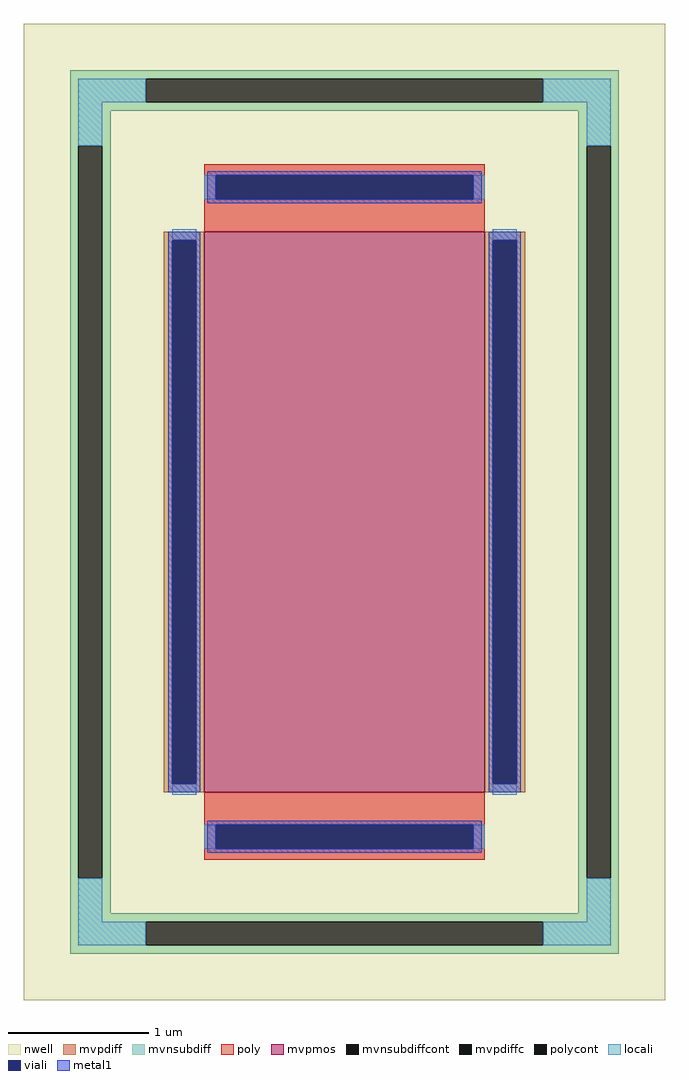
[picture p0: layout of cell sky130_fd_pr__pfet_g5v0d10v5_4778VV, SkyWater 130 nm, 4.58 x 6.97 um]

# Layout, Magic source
magic
tech sky130A
magscale 1 2
<< nwell >>
rect -458 -697 458 697
<< mvpmos >>
rect -200 -400 200 400
<< mvpdiff >>
rect -258 388 -200 400
rect -258 -388 -246 388
rect -212 -388 -200 388
rect -258 -400 -200 -388
rect 200 388 258 400
rect 200 -388 212 388
rect 246 -388 258 388
rect 200 -400 258 -388
<< mvpdiffc >>
rect -246 -388 -212 388
rect 212 -388 246 388
<< mvnsubdiff >>
rect -392 619 392 631
rect -392 585 -284 619
rect 284 585 392 619
rect -392 573 392 585
rect -392 523 -334 573
rect -392 -523 -380 523
rect -346 -523 -334 523
rect 334 523 392 573
rect -392 -573 -334 -523
rect 334 -523 346 523
rect 380 -523 392 523
rect 334 -573 392 -523
rect -392 -585 392 -573
rect -392 -619 -284 -585
rect 284 -619 392 -585
rect -392 -631 392 -619
<< mvnsubdiffcont >>
rect -284 585 284 619
rect -380 -523 -346 523
rect 346 -523 380 523
rect -284 -619 284 -585
<< poly >>
rect -200 481 200 497
rect -200 447 -184 481
rect 184 447 200 481
rect -200 400 200 447
rect -200 -447 200 -400
rect -200 -481 -184 -447
rect 184 -481 200 -447
rect -200 -497 200 -481
<< polycont >>
rect -184 447 184 481
rect -184 -481 184 -447
<< locali >>
rect -380 585 -284 619
rect 284 585 380 619
rect -380 523 -346 585
rect 346 523 380 585
rect -200 447 -184 481
rect 184 447 200 481
rect -246 388 -212 404
rect -246 -404 -212 -388
rect 212 388 246 404
rect 212 -404 246 -388
rect -200 -481 -184 -447
rect 184 -481 200 -447
rect -380 -585 -346 -523
rect 346 -585 380 -523
rect -380 -619 -284 -585
rect 284 -619 380 -585
<< viali >>
rect -184 447 184 481
rect -246 -388 -212 388
rect 212 -388 246 388
rect -184 -481 184 -447
<< metal1 >>
rect -196 481 196 487
rect -196 447 -184 481
rect 184 447 196 481
rect -196 441 196 447
rect -252 388 -206 400
rect -252 -388 -246 388
rect -212 -388 -206 388
rect -252 -400 -206 -388
rect 206 388 252 400
rect 206 -388 212 388
rect 246 -388 252 388
rect 206 -400 252 -388
rect -196 -447 196 -441
rect -196 -481 -184 -447
rect 184 -481 196 -447
rect -196 -487 196 -481
<< properties >>
string FIXED_BBOX -363 -602 363 602
string gencell sky130_fd_pr__pfet_g5v0d10v5
string library sky130
string parameters w 4.0 l 2.0 m 1 nf 1 diffcov 100 polycov 100 guard 1 glc 1 grc 1 gtc 1 gbc 1 tbcov 100 rlcov 100 topc 1 botc 1 poverlap 0 doverlap 1 lmin 0.50 wmin 0.42 compatible {sky130_fd_pr__pfet_01v8  sky130_fd_pr__pfet_01v8_lvt sky130_fd_pr__pfet_01v8_hvt  sky130_fd_pr__pfet_g5v0d10v5} full_metal 1 viasrc 100 viadrn 100 viagate 100 viagb 0 viagr 0 viagl 0 viagt 0
<< end >>
